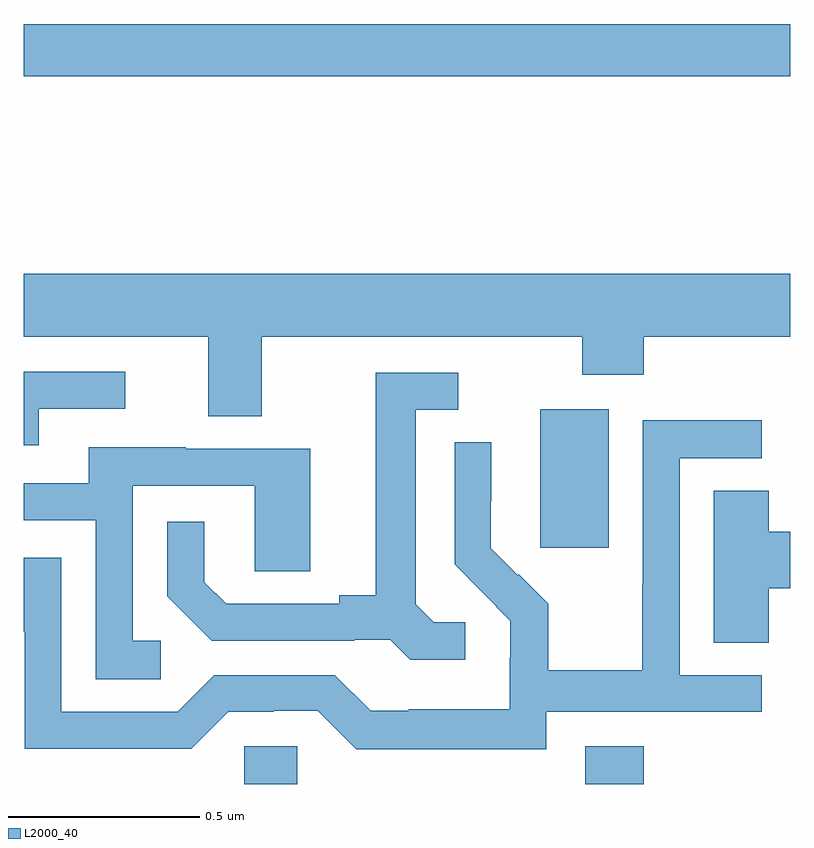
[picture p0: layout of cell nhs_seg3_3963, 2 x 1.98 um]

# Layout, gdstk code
import gdstk
lib = gdstk.Library(unit=1e-6, precision=1e-09)
def R(c, l, rs):  # rectangles x0, y0, x1, y1
    for r in rs: c.add(gdstk.rectangle(r[:2], r[2:], *l))
def P(c, l, *ps):  # polygons
    for p in ps: c.add(gdstk.Polygon(p, *l))
L2000_40 = (2000, 40)

nhs_seg3_3963 = lib.new_cell('nhs_seg3_3963')
R(nhs_seg3_3963, L2000_40, [(160.575,714.4,160.713,714.498), (161.465,714.4,161.618,714.499), (161.348,715.017,161.527,715.378), (160,716.248,162,716.384)])
P(nhs_seg3_3963, L2000_40, [(160.621,715.568),(161.458,715.568),(161.458,715.469),(161.618,715.469),(161.618,715.568),(162,715.568),(162,715.732),(160,715.732),(160,715.568),(160.481,715.568),(160.481,715.36),(160.621,715.36)],
  [(160.039,715.38),(160.264,715.38),(160.264,715.476),(160,715.476),(160,715.284),(160.039,715.284)],
  [(161.152,714.822),(161.07,714.822),(161.023,714.869),(161.023,715.377),(161.134,715.377),(161.134,715.473),(160.919,715.473),(160.919,714.893),(160.823,714.893),(160.823,714.87),(160.528,714.87),(160.471,714.927),(160.471,715.084),(160.374,715.084),(160.374,714.89),(160.49,714.774),(160.862,714.774),(160.862,714.777),(160.956,714.777),(161.008,714.725),(161.152,714.725)],
  [(161.364,714.588),(161.926,714.588),(161.926,714.684),(161.712,714.684),(161.712,715.251),(161.926,715.251),(161.926,715.35),(161.616,715.35),(161.616,714.92),(161.614,714.92),(161.614,714.697),(161.369,714.697),(161.369,714.871),(161.292,714.948),(161.289,714.945),(161.219,715.016),(161.219,715.138),(161.22,715.138),(161.22,715.292),(161.124,715.292),(161.124,714.974),(161.197,714.901),(161.196,714.9),(161.27,714.826),(161.27,714.729),(161.268,714.729),(161.268,714.595),(161.005,714.595),(161.005,714.591),(160.905,714.591),(160.812,714.684),(160.497,714.684),(160.401,714.588),(160.098,714.588),(160.098,714.99),(160,714.99),(160,714.797),(160.002,714.797),(160.002,714.492),(160.437,714.492),(160.533,714.588),(160.652,714.588),(160.652,714.591),(160.767,714.591),(160.867,714.491),(161.364,714.491)],
  [(160.357,714.774),(160.284,714.774),(160.284,715.179),(160.602,715.179),(160.602,714.955),(160.747,714.955),(160.747,715.275),(160.423,715.275),(160.423,715.279),(160.169,715.279),(160.169,715.185),(160,715.185),(160,715.089),(160.188,715.089),(160.188,714.673),(160.357,714.673)],
  [(161.945,714.911),(162,714.911),(162,715.058),(161.945,715.058),(161.945,715.166),(161.801,715.166),(161.801,714.769),(161.945,714.769)])

lib.write_gds('nhs_seg3_3963.gds')
